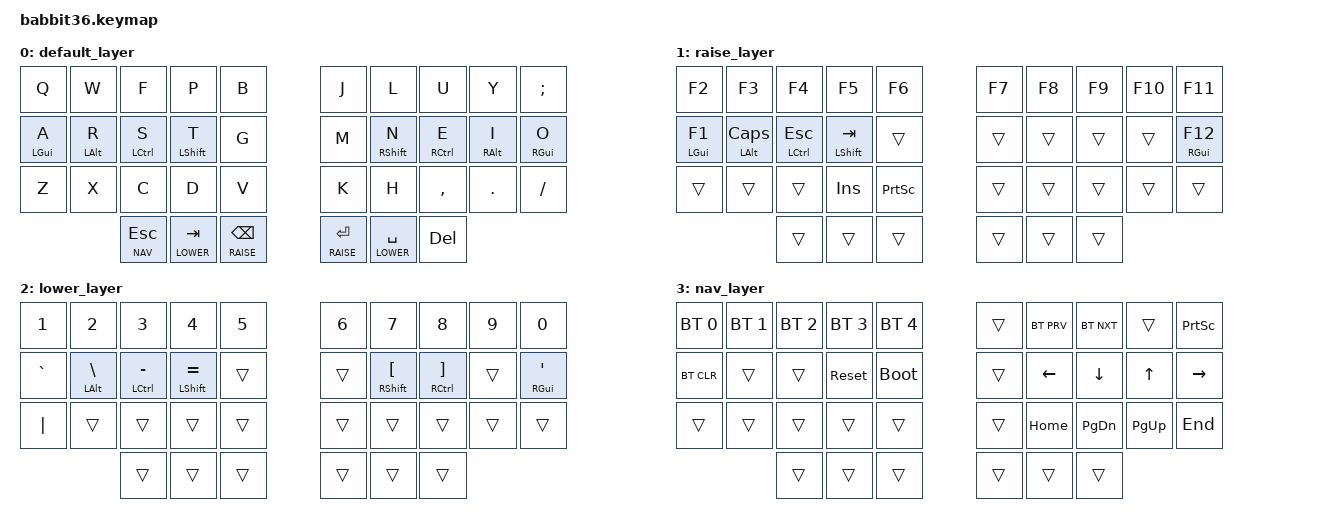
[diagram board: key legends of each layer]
/*
 * Copyright (c) 2020 The ZMK Contributors
 *
 * SPDX-License-Identifier: MIT
 */

#include <behaviors.dtsi>
#include <dt-bindings/zmk/keys.h>
#include <dt-bindings/zmk/bt.h>

#define RAISE  1
#define LOWER  2
#define NAV    3
#define LABSLH &hml LALT BSLH
#define LACAPS &hml LALT CAPSLOCK
#define LCESC &hml LCTRL ESC
#define LCMINS &hml LCTRL MINUS
#define LOWSPC &lt LOWER SPACE
#define LSEQUAL &hml LSHFT EQUAL
#define LSTAB &hml LSHFT TAB
#define LWTAB &lt LOWER TAB
#define RCRBRC &hmr RCTRL RBKT
#define RGF12 &hmr RGUI F12
#define RGSQT &hmr RGUI SQT
#define RSBSPC &lt RAISE BSPC
#define RSLBRC &hmr RSHFT LBKT
#define RSRET &lt RAISE RET

&lt {
    quick-tap-ms = <200>;
    flavor = "hold-preferred";
};

/ {
    behaviors {
        hml: home_row_mods_left {
            compatible = "zmk,behavior-hold-tap";
            #binding-cells = <2>;
            flavor = "balanced";
            tapping-term-ms = <200>;
            quick-tap-ms = <175>;
            require-prior-idle-ms = <50>;
            bindings = <&kp>, <&kp>;
            // Keys on right half trigger left-side mods
            hold-trigger-key-positions = <5 6 7 8 9 15 16 17 18 19 25 26 27 28 29 33 34 35>;
            hold-trigger-on-release;
        };
        hmr: home_row_mods_right {
            compatible = "zmk,behavior-hold-tap";
            #binding-cells = <2>;
            flavor = "balanced";
            tapping-term-ms = <200>;
            quick-tap-ms = <175>;
            require-prior-idle-ms = <50>;
            bindings = <&kp>, <&kp>;
            // Keys on left half trigger right-side mods
            hold-trigger-key-positions = <0 1 2 3 4 10 11 12 13 14 20 21 22 23 24 30 31 32>;
            hold-trigger-on-release;
        };
    };

    keymap {
        compatible = "zmk,keymap";

        default_layer {
            bindings = <
// ╭────────────┬────────────┬────────────┬────────────┬────────────╮   ╭────────────┬────────────┬────────────┬────────────┬────────────╮
    &kp Q        &kp W        &kp F        &kp P        &kp B            &kp J        &kp L        &kp U        &kp Y        &kp SEMI     
// ├────────────┼────────────┼────────────┼────────────┼────────────┤   ├────────────┼────────────┼────────────┼────────────┼────────────┤
    &hml LGUI A  &hml LALT R  &hml LCTRL S &hml LSHFT T &kp G            &kp M        &hmr RSHFT N &hmr RCTRL E &hmr RALT I  &hmr RGUI O  
// ├────────────┼────────────┼────────────┼────────────┼────────────┤   ├────────────┼────────────┼────────────┼────────────┼────────────┤
    &kp Z        &kp X        &kp C        &kp D        &kp V            &kp K        &kp H        &kp COMMA    &kp DOT      &kp FSLH     
// ╰────────────┴────────────┴────────────┼────────────┼────────────┤   ├────────────┼────────────┼────────────┴────────────┴────────────╯
                              &lt NAV ESC  LWTAB        RSBSPC           RSRET        LOWSPC       &kp DEL      
//                           ╰────────────┴────────────┴────────────╯   ╰────────────┴────────────┴────────────╯
            >;
        };

        raise_layer {
            bindings = <
// ╭────────────┬────────────┬────────────┬────────────┬────────────╮   ╭────────────┬────────────┬────────────┬────────────┬────────────╮
    &kp F2       &kp F3       &kp F4       &kp F5       &kp F6           &kp F7       &kp F8       &kp F9       &kp F10      &kp F11      
// ├────────────┼────────────┼────────────┼────────────┼────────────┤   ├────────────┼────────────┼────────────┼────────────┼────────────┤
    &hml LGUI F1 LACAPS       LCESC        LSTAB        &trans           &trans       &trans       &trans       &trans       RGF12        
// ├────────────┼────────────┼────────────┼────────────┼────────────┤   ├────────────┼────────────┼────────────┼────────────┼────────────┤
    &trans       &trans       &trans       &kp INS      &kp PSCRN        &trans       &trans       &trans       &trans       &trans       
// ╰────────────┴────────────┴────────────┼────────────┼────────────┤   ├────────────┼────────────┼────────────┴────────────┴────────────╯
                              &trans       &trans       &trans           &trans       &trans       &trans       
//                           ╰────────────┴────────────┴────────────╯   ╰────────────┴────────────┴────────────╯
            >;
        };

        lower_layer {
            bindings = <
// ╭────────────┬────────────┬────────────┬────────────┬────────────╮   ╭────────────┬────────────┬────────────┬────────────┬────────────╮
    &kp N1       &kp N2       &kp N3       &kp N4       &kp N5           &kp N6       &kp N7       &kp N8       &kp N9       &kp N0       
// ├────────────┼────────────┼────────────┼────────────┼────────────┤   ├────────────┼────────────┼────────────┼────────────┼────────────┤
    &kp GRAVE    LABSLH       LCMINS       LSEQUAL      &trans           &trans       RSLBRC       RCRBRC       &trans       RGSQT        
// ├────────────┼────────────┼────────────┼────────────┼────────────┤   ├────────────┼────────────┼────────────┼────────────┼────────────┤
    &kp PIPE     &trans       &trans       &trans       &trans           &trans       &trans       &trans       &trans       &trans       
// ╰────────────┴────────────┴────────────┼────────────┼────────────┤   ├────────────┼────────────┼────────────┴────────────┴────────────╯
                              &trans       &trans       &trans           &trans       &trans       &trans       
//                           ╰────────────┴────────────┴────────────╯   ╰────────────┴────────────┴────────────╯
            >;
        };

        nav_layer {
            bindings = <
// ╭────────────┬────────────┬────────────┬────────────┬────────────╮   ╭────────────┬────────────┬────────────┬────────────┬────────────╮
    &bt BT_SEL 0 &bt BT_SEL 1 &bt BT_SEL 2 &bt BT_SEL 3 &bt BT_SEL 4     &trans       &bt BT_PRV   &bt BT_NXT   &trans       &kp PSCRN    
// ├────────────┼────────────┼────────────┼────────────┼────────────┤   ├────────────┼────────────┼────────────┼────────────┼────────────┤
    &bt BT_CLR   &trans       &trans       &sys_reset   &bootloader      &trans       &kp LEFT     &kp DOWN     &kp UP       &kp RIGHT    
// ├────────────┼────────────┼────────────┼────────────┼────────────┤   ├────────────┼────────────┼────────────┼────────────┼────────────┤
    &trans       &trans       &trans       &trans       &trans           &trans       &kp HOME     &kp PG_DN    &kp PG_UP    &kp END      
// ╰────────────┴────────────┴────────────┼────────────┼────────────┤   ├────────────┼────────────┼────────────┴────────────┴────────────╯
                              &trans       &trans       &trans           &trans       &trans       &trans       
//                           ╰────────────┴────────────┴────────────╯   ╰────────────┴────────────┴────────────╯
            >;
        };
    };
};
